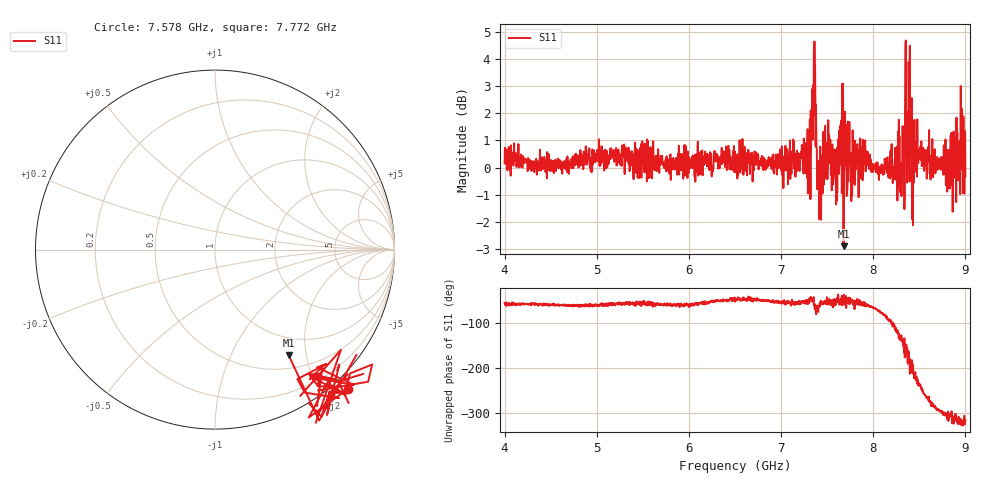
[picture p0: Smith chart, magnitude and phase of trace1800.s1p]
! Created with skrf 1.8.0 (http://scikit-rf.org).
# Hz S RI R 50.0
!freq ReS11 ImS11
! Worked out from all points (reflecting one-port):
!   1601 points, 4 GHz to 9 GHz, reference 50 ohm
!   lowest |S11| = -2.9 dB at 7.678 GHz (marker M1), VSWR 6.04, Z = 35.2 - j84.7 ohm
!   phase of S11 starts at -55 deg and turns -260 deg over the sweep
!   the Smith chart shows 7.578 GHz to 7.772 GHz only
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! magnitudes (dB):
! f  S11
! 4 GHz  0.2
! 4.625 GHz  -0.2
! 5.25 GHz  0.3
! 5.875 GHz  0.1
! 6.5 GHz  0.6
! 7.125 GHz  0.5
! 7.294 GHz  0.0
! 7.353 GHz  1.9
! 7.372 GHz  2.6
! 7.409 GHz  -0.1
! 7.425 GHz  0.8
! 7.509 GHz  0.4
! 7.584 GHz  -0.3
! 7.647 GHz  1.4
! 7.678 GHz  -2.9
! 7.703 GHz  0.6
! 7.75 GHz  0.2
! 8.097 GHz  0.1
! 8.259 GHz  0.8
! 8.316 GHz  0.0
! 8.334 GHz  0.2
! 8.375 GHz  1.5
! 8.412 GHz  0.5
! 8.447 GHz  1.8
! 8.466 GHz  -0.1
! 8.812 GHz  0.2
! 8.972 GHz  0.2
! 9 GHz  -0.3
